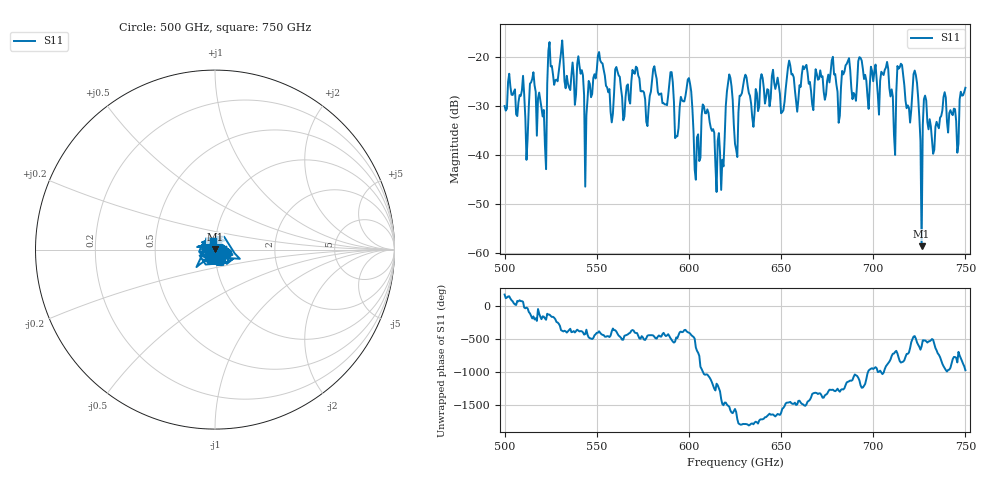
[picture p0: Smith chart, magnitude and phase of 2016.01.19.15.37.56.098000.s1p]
!Created with skrf (http://scikit-rf.org).
# GHz S RI R 50.0
!freq ReS11 ImS11
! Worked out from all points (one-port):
!   401 points, 500 GHz to 750 GHz, reference 50 ohm
!   lowest |S11| = -58.6 dB at 726.2 GHz (marker M1), VSWR 1.00, Z = 50 + j0.113 ohm
!   |S11| at or under -10 dB: start of sweep to end of sweep
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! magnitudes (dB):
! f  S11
! 500 GHz  -30.0
! 511.9 GHz  -41.0
! 515 GHz  -24.5
! 521.2 GHz  -30.8
! 524.4 GHz  -17.0
! 531.2 GHz  -16.6
! 544.4 GHz  -31.9
! 551.9 GHz  -20.7
! 557.5 GHz  -31.2
! 562.5 GHz  -24.1
! 590 GHz  -23.1
! 593.8 GHz  -36.2
! 600 GHz  -24.3
! 604.4 GHz  -36.4
! 608.8 GHz  -31.5
! 618.1 GHz  -41.0
! 621.9 GHz  -23.6
! 625 GHz  -37.7
! 630.6 GHz  -23.6
! 656.2 GHz  -23.5
! 687.5 GHz  -22.6
! 706.9 GHz  -22.2
! 710.6 GHz  -28.0
! 714.4 GHz  -22.1
! 718.8 GHz  -29.9
! 723.1 GHz  -23.7
! 726.2 GHz  -58.6
! 750 GHz  -26.3
